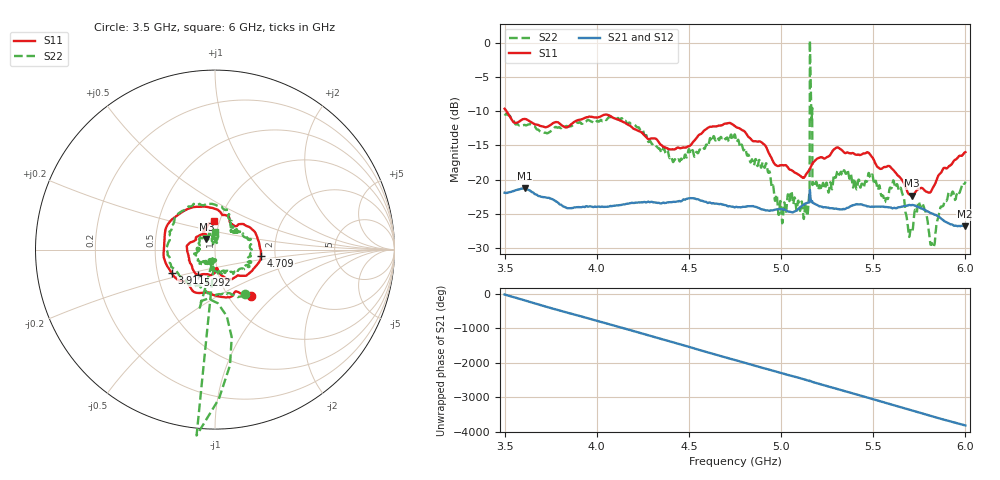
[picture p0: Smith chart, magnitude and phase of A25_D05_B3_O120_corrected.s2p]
! Created with skrf 1.9.0 (http://scikit-rf.org).
# Hz S RI R 50.0
!freq ReS11 ImS11 ReS21 ImS21 ReS12 ImS12 ReS22 ImS22
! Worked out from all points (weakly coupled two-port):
!   1601 points, 3.5 GHz to 6 GHz, reference 50 ohm
!   highest |S21| = -21.29 dB at 3.609 GHz (marker M1); lowest = -26.8 dB at 5.997 GHz (marker M2)
!   lowest |S11| = -22.3 dB at 5.709 GHz (marker M3), VSWR 1.17, Z = 45.1 + j5.41 ohm
!   |S11| at or under -10 dB: 3.51 GHz to end of sweep
!   |S22| runs from -29.7 to 0.3 dB; largest |S21 - S12| = 0.0009
!   S11 on the Smith chart (normalised r, x): 3.5 GHz: 1.26, -0.74; 3.911 GHz: 0.59, -0.17; 4.709 GHz: 1.68, -0.12; 5.292 GHz: 0.80, -0.23; 6 GHz: 0.94, +0.31
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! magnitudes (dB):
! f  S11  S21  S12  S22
! 3.5 GHz  -9.6  -21.9  -21.9  -10.4
! 3.609 GHz  -11.1  -21.3  -21.3  -12.0
! 3.911 GHz  -11.2  -24.0  -24.0  -11.6
! 3.917 GHz  -11.2  -24.0  -24.0  -11.8
! 4.127 GHz  -11.3  -23.7  -23.7  -11.2
! 4.334 GHz  -14.5  -23.4  -23.4  -15.4
! 4.709 GHz  -11.8  -23.9  -23.8  -13.9
! 4.75 GHz  -12.2  -24.1  -24.0  -13.5
! 4.928 GHz  -15.8  -24.5  -24.5  -18.9
! 4.997 GHz  -17.9  -24.3  -24.3  -23.2
! 5.133 GHz  -19.4  -23.5  -23.5  -23.4
! 5.167 GHz  -17.8  -23.2  -23.1  -10.6
! 5.183 GHz  -17.3  -23.5  -23.5  -21.0
! 5.292 GHz  -15.5  -24.2  -24.2  -19.5
! 5.584 GHz  -18.0  -24.1  -24.0  -22.1
! 5.641 GHz  -19.5  -24.1  -24.0  -21.5
! 5.709 GHz  -22.3  -23.7  -23.7  -27.3
! 5.759 GHz  -21.2  -24.2  -24.1  -24.1
! 5.822 GHz  -21.3  -25.0  -24.9  -29.6
! 5.873 GHz  -18.7  -25.8  -25.8  -23.9
! 5.997 GHz  -16.0  -26.8  -26.7  -20.6
! 6 GHz  -16.0  -26.8  -26.8  -20.3
